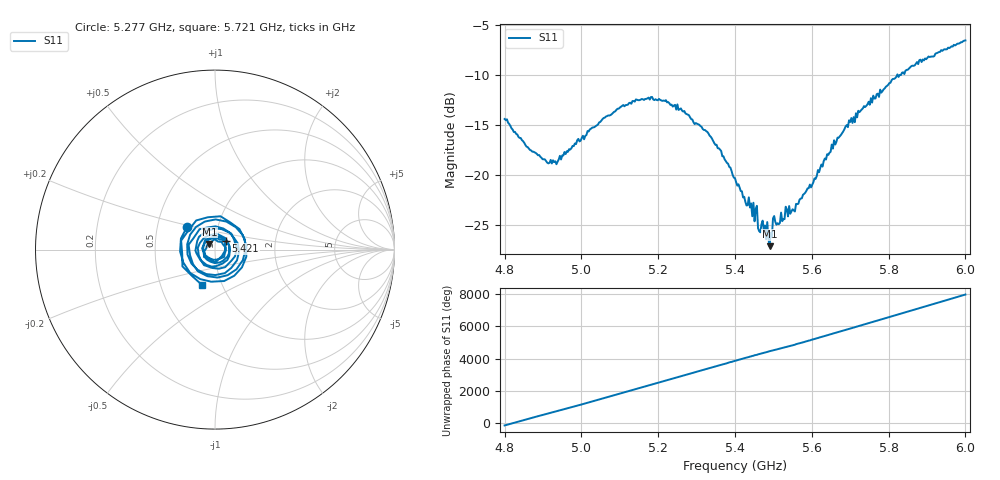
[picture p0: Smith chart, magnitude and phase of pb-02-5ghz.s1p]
! NanoVNA-App
! Date: 2026-05-22 17:19:17
! Start: 4.8GHz Stop: 6GHz Points: 401
! S-Parameter data: F S11
# Hz S RI R 50
!  Frequency  S11_Real  S11_Imag
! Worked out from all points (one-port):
!   401 points, 4.8 GHz to 6 GHz, reference 50 ohm
!   lowest |S11| = -27.1 dB at 5.49 GHz (marker M1), VSWR 1.09, Z = 46.9 + j2.91 ohm
!   |S11| at or under -10 dB: start of sweep to 5.822 GHz; 5.824084 GHz to 5.828421 GHz (4.336 MHz wide, 0.0744 % of centre)
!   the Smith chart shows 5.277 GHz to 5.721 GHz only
!   S11 on the Smith chart (normalised r, x): 5.277 GHz: 0.71, +0.19; 5.421 GHz: 1.12, +0.11; 5.721 GHz: 0.80, -0.33
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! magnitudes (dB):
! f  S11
! 4.8 GHz  -14.4
! 4.86 GHz  -17.2
! 4.908 GHz  -18.6
! 4.935 GHz  -18.9
! 4.95 GHz  -18.0
! 5.1 GHz  -13.2
! 5.178 GHz  -12.4
! 5.25 GHz  -12.9
! 5.277 GHz  -13.9
! 5.334 GHz  -16.0
! 5.385 GHz  -19.2
! 5.4 GHz  -20.3
! 5.421 GHz  -22.2
! 5.451 GHz  -24.6
! 5.466 GHz  -25.7
! 5.478 GHz  -25.0
! 5.49 GHz  -27.1
! 5.505 GHz  -24.7
! 5.511 GHz  -24.8
! 5.538 GHz  -24.1
! 5.55 GHz  -23.4
! 5.604 GHz  -20.7
! 5.652 GHz  -16.9
! 5.7 GHz  -14.7
! 5.721 GHz  -13.6
! 5.817 GHz  -10.3
! 5.85 GHz  -9.4
! 6 GHz  -6.5
